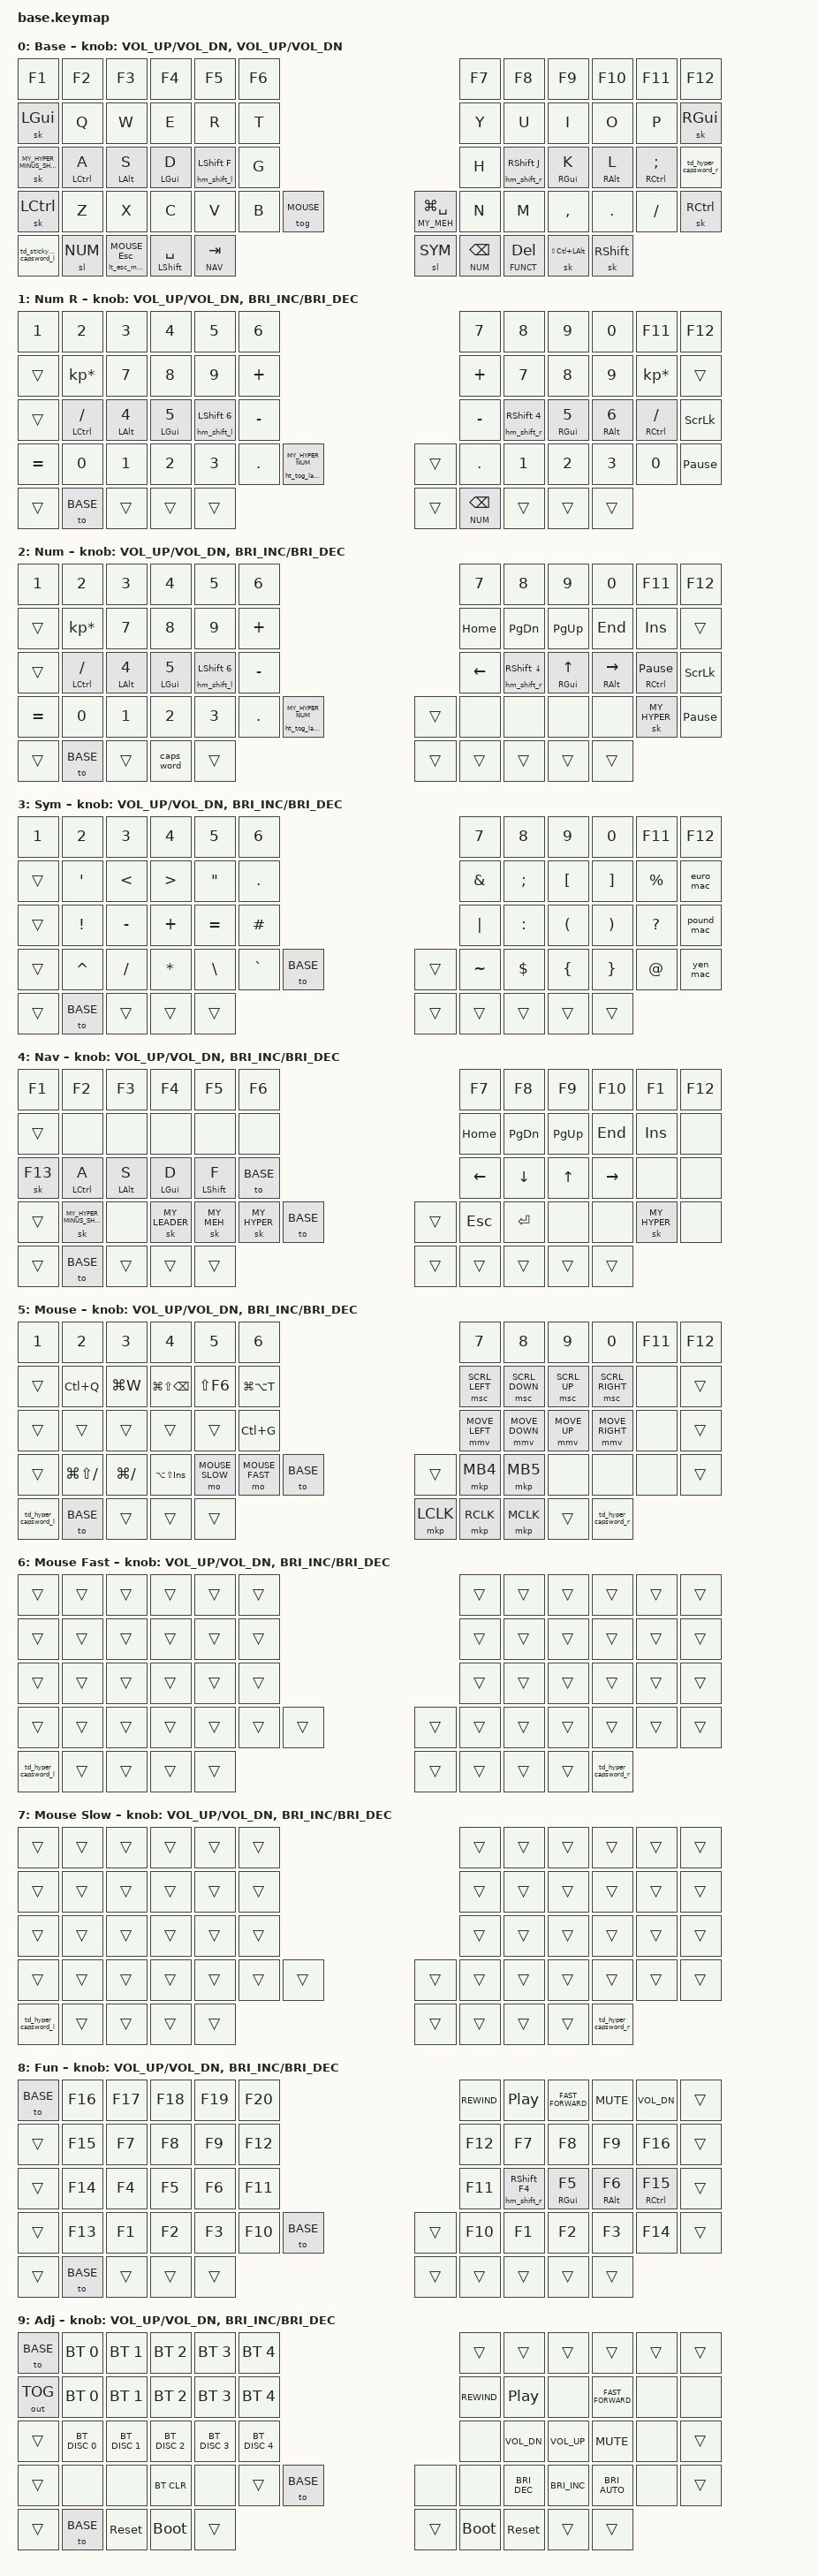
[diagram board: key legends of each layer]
/*
* Copyright (c) 2020 The ZMK Contributors
*
* SPDX-License-Identifier: MIT
*/

// Useful web keymap editor
// https://nickcoutsos.github.io/keymap-editor/

#include "includes/layers_definitions.dtsi"
// #define MOUSE_KEYS 12
// #define MOUSE_TP 13
// #define MOUSE_TP_SET 14

// ZMK includes
#include <behaviors.dtsi>
#include <dt-bindings/zmk/keys.h>
#include <dt-bindings/zmk/bt.h>
#include <dt-bindings/zmk/ext_power.h>
#include <dt-bindings/input/input-event-codes.h>
#include <input/processors.dtsi>

// #ifdef HAS_MOUSE_KEYS
// #include <dt-bindings/zmk/mouse.h>
// #endif

#define ZMK_POINTING_DEFAULT_MOVE_VAL 1200// default: 600
#define ZMK_POINTING_DEFAULT_SCRL_VAL 20// default: 10
#include <dt-bindings/zmk/pointing.h>

#include "zmk-helpers/helper.h"
#include "zmk-helpers/unicode-chars/currency.dtsi"

// Personal includes
#include "includes/custom_keycodes.dtsi"
#include "includes/settings.dtsi"
#include "includes/conditional_layers.dtsi"
#include "includes/macros.dtsi"
#include "includes/combos.dtsi"
#include "includes/behaviours_homerow_mods.dtsi"
#include "includes/behaviours_mod_morph.dtsi"
#include "includes/layers_callbacks.dtsi"
#include "includes/behaviours_other.dtsi"

// Enable Mouse Keys
// #ifdef HAS_MOUSE_KEYS
// #include "includes/mouse_keys.dtsi"
// #endif

/*                                      60 KEY MATRIX / LAYOUT MAPPING

╭────────────────────────────┬────────────────────────────╮ ╭─────────────────────────────┬─────────────────────────────╮
│  0   1   2   3   4   5     │      6   7   8   9  10  11 │ │ LN5 LN4 LN3 LN2 LN1 LN0     │     RN0 RN1 RN2 RN3 RN4 RN5 │
│ 12  13  14  15  16  17     │     18  19  20  21  22  23 │ │ LT5 LT4 LT3 LT2 LT1 LT0     │     RT0 RT1 RT2 RT3 RT4 RT5 │
│ 24  25  26  27  28  29     │     30  31  32  33  34  35 │ │ LM5 LM4 LM3 LM2 LM1 LM0     │     RM0 RM1 RM2 RM3 RM4 RM5 │
│ 36  37  38  39  40  41  42 │ 43  44  45  46  47  48  49 │ │ LB5 LB4 LB3 LB2 LB1 LB0 LEC │ REC RB0 RB1 RB2 RB3 RB4 RB5 │
╰───────╮ 50  51  52  53  54 │ 55  56  57  58  59 ╭───────╯ ╰───────╮ LH4 LH3 LH2 LH1 LH0 │ RH0 RH1 RH2 RH3 RH4 ╭───────╯
........╰────────────────────┴────────────────────╯                 ╰─────────────────────┴─────────────────────╯
*/

/ {
	keymap {
		compatible = "zmk,keymap";
		
		base_layer {
			display-name = "Base";
			bindings = <
			&kp F1                       &kp F2                   &kp F3           &kp F4           &kp F5                    &kp F6                                                                                      &kp F7          &kp F8                &kp F9         &kp F10        &kp F11           &kp F12
			&sk LGUI                     &kp Q                    &kp W            &kp E            &kp R                     &kp T                                                                                       &kp Y           &kp U                 &kp I          &kp O          &kp P             &sk RGUI
			&sk MY_HYPER_MINUS_SHIFT     &hm_l LCTRL A            &hm_l LALT S     &hm_l LGUI D     &hm_shift_l LSHFT F       &kp G                                                                                       &kp H           &hm_shift_r RSHFT J   &hm_r RGUI K   &hm_r RALT  L  &hm_r RCTRL SEMI  &td_hyper_capsword_r
			&sk LCTRL                    &kp Z                    &kp X            &kp C            &kp V                     &kp B   &tog MOUSE                                          &ht MY_MEH LG(SPACE)            &kp N           &kp M                 &kp COMMA      &kp DOT        &kp FSLH          &sk RCTRL
			&td_sticky_shift_capsword_l  &sl NUM                 &lt_esc_mouse MOUSE ESC           &ht LSHFT SPACE           &lt NAV TAB                                                  &sl SYM  &lt NUM BSPC  &lt FUNCT DEL  &sk LS(LC(LALT))  &sk RSHFT
			>;
			sensor-bindings = <&inc_dec_kp C_VOL_UP C_VOL_DN  &inc_dec_kp C_VOL_UP C_VOL_DN>;
		};
		
		num_layer_right {
			display-name = "Num R";
			bindings = <
			&kp N1              &kp N2              &kp N3         &kp N4                &kp N5                &kp  N6                                                  &kp N7      &kp N8                   &kp N9               &kp N0             &kp F11                   &kp F12
			&trans              &kp KP_ASTERISK     &kp N7         &kp N8                &kp N9                &kp PLUS                                                 &kp PLUS    &kp N7                   &kp N8               &kp N9             &kp KP_ASTERISK           &trans
			&trans              &hm_l LCTRL SLASH   &hm_l LALT N4  &hm_l LGUI N5         &hm_shift_l LSHFT N6  &kp MINUS                                                &kp MINUS   &hm_shift_r RSHFT N4     &hm_r RGUI N5        &hm_r RALT N6      &hm_r RCTRL SLASH         &kp SCROLLLOCK
			&kp EQUAL           &kp N0              &kp N1         &kp N2                &kp NUMBER_3          &kp DOT    &ht_tog_layer MY_HYPER NUM            &trans  &kp DOT     &kp N1                   &kp N2               &kp N3             &kp N0                    &kp PAUSE_BREAK
			&trans &to BASE  &trans  &trans  &trans                                                                                                             &trans  &lt NUM BSPC  &trans  &trans  &trans
			>;
			
			sensor-bindings = <&inc_dec_kp C_VOL_UP C_VOL_DN  &inc_dec_kp C_BRI_INC C_BRI_DEC>;
		};

		num_layer {
			display-name = "Num";
			bindings = <
			&kp N1              &kp N2              &kp N3         &kp N4                &kp N5                &kp N6                                                   &kp N7        &kp N8                   &kp N9               &kp N0             &kp F11                   &kp F12
			&trans              &kp KP_ASTERISK     &kp N7         &kp N8                &kp N9                &kp PLUS                                                 &kp HOME      &kp PG_DN                &kp PG_UP            &kp END            &kp INSERT                &trans
			&trans              &hm_l LCTRL SLASH   &hm_l LALT N4  &hm_l LGUI N5         &hm_shift_l LSHFT N6  &kp MINUS                                                &kp LEFT      &hm_shift_r RSHFT DOWN   &hm_r RGUI UP        &hm_r RALT RIGHT   &hm_r RCTRL PAUSE_BREAK   &kp SCROLLLOCK
			&kp EQUAL           &kp N0              &kp N1         &kp N2                &kp NUMBER_3          &kp DOT    &ht_tog_layer MY_HYPER NUM            &trans  &none         &none                    &none                &none              &sk MY_HYPER              &kp PAUSE_BREAK
			&trans &to BASE  &trans  &caps_word  &trans                                                                                                         &trans  &trans  &trans  &trans  &trans
			>;
			
			sensor-bindings = <&inc_dec_kp C_VOL_UP C_VOL_DN  &inc_dec_kp C_BRI_INC C_BRI_DEC>;
		};
		
		sym_layer {
			display-name = "Sym";
			bindings = <
			&kp N1              &kp N2                   &kp N3                &kp N4                  &kp N5                  &kp N6                                            &kp N7     &kp N8                   &kp N9                       &kp N0                        &kp F11               &kp F12
			&trans              &kp SQT                  &kp LESS_THAN         &kp GREATER_THAN        &kp DOUBLE_QUOTES       &kp DOT                                           &kp AMPS   &kp SEMICOLON            &kp LEFT_BRACKET             &kp RIGHT_BRACKET             &kp PERCENT           &euro_mac
			&trans              &kp EXCLAMATION          &kp MINUS             &kp PLUS                &kp EQUAL               &kp HASH                                          &kp PIPE   &kp COLON                &kp LEFT_PARENTHESIS         &kp RIGHT_PARENTHESIS         &kp QUESTION          &pound_mac
			&trans              &kp CARET                &kp SLASH             &kp ASTERISK            &kp BACKSLASH           &kp GRAVE  &to BASE                       &trans  &kp TILDE  &kp DOLLAR               &kp LEFT_BRACE               &kp RIGHT_BRACE               &kp AT_SIGN           &yen_mac
      &trans  &to BASE  &trans  &trans  &trans                                                                                                                 &trans  &trans  &trans  &trans  &trans
			>;
			
			sensor-bindings = <&inc_dec_kp C_VOL_UP C_VOL_DN  &inc_dec_kp C_BRI_INC C_BRI_DEC>;
		};
		
		nav {
			display-name = "Nav";
			bindings = <
			&kp F1                &kp F2                     &kp F3            &kp F4                &kp F5                &kp F6                                         &kp F7           &kp F8            &kp F9               &kp F10            &kp F1             &kp F12
			&trans                &none                      &none             &none                 &none                 &none                                          &kp HOME         &kp PG_DN         &kp PG_UP            &kp END            &kp INSERT         &none
			&sk F13               &hm_l LCTRL A              &hm_l LALT S      &hm_l LGUI D          &hm_l LSHFT F         &to BASE                                       &kp LEFT         &kp DOWN          &kp UP               &kp RIGHT          &none              &none
			&trans                &sk MY_HYPER_MINUS_SHIFT   &none             &sk MY_LEADER         &sk MY_MEH            &sk MY_HYPER  &to BASE               &trans    &kp ESC          &kp ENTER         &none                &none              &sk MY_HYPER       &none
      &trans  &to BASE  &trans  &trans  &trans                                                                                                            &trans &trans  &trans  &trans  &trans
			>;
			
			sensor-bindings = <&inc_dec_kp C_VOL_UP C_VOL_DN  &inc_dec_kp C_BRI_INC C_BRI_DEC>;
		};

		mouse {
			display-name = "Mouse";
			bindings = <
			&kp N1                &kp N2                  &kp N3                 &kp N4                 &kp N5                &kp N6                                         &kp N7           &kp N8                   &kp N9               &kp N0             &kp F11        &kp F12
			&trans                &kp LC(Q)               &kp LG(W)              &kp LG(LS(BACKSPACE))  &kp LS(F6)            &kp LG(LA(T))                                  &msc SCRL_LEFT   &msc SCRL_DOWN           &msc SCRL_UP         &msc SCRL_RIGHT    &none          &trans
			&trans                &trans                  &trans                 &trans                 &trans                &kp LC(G)                                      &mmv MOVE_LEFT   &mmv MOVE_DOWN           &mmv MOVE_UP         &mmv MOVE_RIGHT    &none          &trans
			&trans                &kp LG(LS(SLASH))       &kp LG(SLASH)          &kp LA(LS(INSERT))     &mo MOUSE_SLOW        &mo MOUSE_FAST     &to BASE            &trans  &mkp MB4         &mkp MB5                 &none                &none              &none          &trans
			&td_hyper_capsword_l  &to BASE &trans  &trans  &trans                                                                                                    &mkp LCLK   &mkp RCLK   &mkp MCLK   &trans   &td_hyper_capsword_r
			>;
			
			sensor-bindings = <&inc_dec_kp C_VOL_UP C_VOL_DN  &inc_dec_kp C_BRI_INC C_BRI_DEC>;
		};
		
		mouse_fast {
			display-name = "Mouse Fast";
			bindings = <
			&trans                &trans                  &trans            &trans                &trans                &trans                                         &trans          &trans                   &trans               &trans             &trans            &trans
			&trans                &trans                  &trans            &trans                &trans                &trans                                         &trans          &trans                   &trans               &trans             &trans            &trans
			&trans                &trans                  &trans            &trans                &trans                &trans                                         &trans          &trans                   &trans               &trans             &trans            &trans
			&trans                &trans                  &trans            &trans                &trans                &trans    &trans                       &trans  &trans          &trans                   &trans               &trans             &trans            &trans
			&td_hyper_capsword_l  &trans &trans  &trans  &trans                                                                                                &trans  &trans  &trans  &trans  &td_hyper_capsword_r
			>;
			
			sensor-bindings = <&inc_dec_kp C_VOL_UP C_VOL_DN  &inc_dec_kp C_BRI_INC C_BRI_DEC>;
		};

		mouse_slow {
			display-name = "Mouse Slow";
			bindings = <
			&trans                &trans                  &trans            &trans                &trans                &trans                                         &trans          &trans                   &trans               &trans             &trans            &trans
			&trans                &trans                  &trans            &trans                &trans                &trans                                         &trans          &trans                   &trans               &trans             &trans            &trans
			&trans                &trans                  &trans            &trans                &trans                &trans                                         &trans          &trans                   &trans               &trans             &trans            &trans
			&trans                &trans                  &trans            &trans                &trans                &trans    &trans                       &trans  &trans          &trans                   &trans               &trans             &trans            &trans
			&td_hyper_capsword_l  &trans &trans  &trans  &trans                                                                                                &trans  &trans  &trans  &trans  &td_hyper_capsword_r
			>;
			
			sensor-bindings = <&inc_dec_kp C_VOL_UP C_VOL_DN  &inc_dec_kp C_BRI_INC C_BRI_DEC>;
		};
		
		funct_layer {
			display-name = "Fun";
			bindings = <
			&to BASE          &kp F16           &kp F17       &kp F18  &kp F19       &kp F20                                          &kp C_REWIND      &kp C_PLAY_PAUSE        &kp C_FAST_FORWARD           &kp C_MUTE                    &kp C_VOL_DN        &trans
			&trans            &kp F15           &kp F7        &kp F8   &kp F9        &kp F12                                          &kp F12           &kp F7                  &kp F8                       &kp F9                        &kp F16             &trans
			&trans            &kp F14           &kp F4        &kp F5   &kp F6        &kp F11                                          &kp F11           &hm_shift_r RSHFT F4    &hm_r RGUI F5                &hm_r RALT F6                 &hm_r RCTRL F15     &trans
			&trans            &kp F13           &kp F1        &kp F2   &kp F3        &kp F10  &to BASE                        &trans  &kp F10           &kp F1                  &kp F2                       &kp F3                        &kp F14             &trans
			&trans  &to BASE &trans  &trans  &trans                                                                           &trans  &trans  &trans  &trans  &trans
			>;
			
			sensor-bindings = <&inc_dec_kp C_VOL_UP C_VOL_DN  &inc_dec_kp C_BRI_INC C_BRI_DEC>;
		};
		
		adjust_layer {
			display-name = "Adj";
			bindings = <
			&to BASE           &bt BT_SEL 0     &bt BT_SEL 1   &bt BT_SEL 2   &bt BT_SEL 3   &bt BT_SEL 4                                    &trans  &trans                    &trans                 &trans                  &trans  &trans
			&out OUT_TOG       &bt BT_SEL 0     &bt BT_SEL 1   &bt BT_SEL 2   &bt BT_SEL 3   &bt BT_SEL 4                                    &kp C_REWIND   &kp C_PLAY_PAUSE   &none                  &kp C_FAST_FORWARD      &none   &none
			&trans             &bt BT_DISC 0    &bt BT_DISC 1  &bt BT_DISC 2  &bt BT_DISC 3  &bt BT_DISC 4                                   &none   &kp C_VOL_DN              &kp C_VOL_UP           &kp C_MUTE              &none   &trans
			&trans             &none            &none          &bt BT_CLR     &none          &trans         &to BASE                  &none  &none   &kp C_BRIGHTNESS_DEC      &kp C_BRIGHTNESS_INC   &kp C_BRIGHTNESS_AUTO   &none   &trans
			&trans  &to BASE  &sys_reset  &bootloader  &trans                                                                         &trans  &bootloader  &sys_reset  &trans  &trans
			>;
			
			sensor-bindings = <&inc_dec_kp C_VOL_UP C_VOL_DN  &inc_dec_kp C_BRI_INC C_BRI_DEC>;
		};
		
	};
};

&mmv_input_listener {
	fast {
		layers = <MOUSE_FAST>;
		input-processors = <&zip_xy_scaler 3 1>;
	};
	slow {
		layers = <MOUSE_SLOW>;
		input-processors = <&zip_xy_scaler 1 2>;
	};
};
